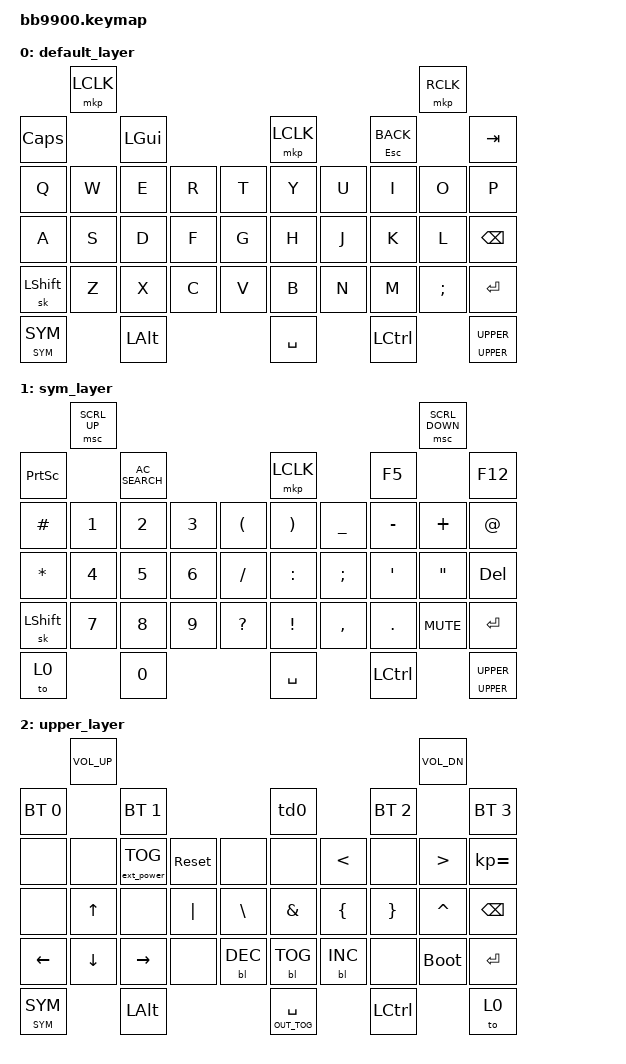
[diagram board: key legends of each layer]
/*
 * Copyright (c) 2023 ZitaoTech
 *
 * SPDX-License-Identifier: MIT
 */
   
#include <behaviors.dtsi>
#include <dt-bindings/zmk/keys.h>
#include <dt-bindings/zmk/bt.h>
#include <dt-bindings/zmk/outputs.h>
#include <dt-bindings/zmk/mouse.h>
#include <dt-bindings/zmk/backlight.h>
#include <dt-bindings/zmk/ext_power.h>


#define SYM 1
#define UPPER 2

/ {
    behaviors {
        td0: tap_dance_0 {
            compatible = "zmk,behavior-tap-dance";
            #binding-cells = <0>;
            tapping-term-ms = <400>;
            bindings = <&mkp LCLK>, <&bt BT_CLR>;
        };
    };
    behaviors {
        hm: homerow_mods {
            compatible = "zmk,behavior-hold-tap";
            #binding-cells = <2>;
            tapping-term-ms = <500>;
            bindings = <&out &kp>;
        };
    };
    behaviors {
      sym_ht: sym_hold_tap {
          compatible = "zmk,behavior-hold-tap";
          #binding-cells = <2>;
          tapping-term-ms = <100>;
          flavor = "hold-preferred";
          bindings = <&mo>, <&to>;
      };
   };
   behaviors {
      upper_ht: upper_hold_tap {
          compatible = "zmk,behavior-hold-tap";
          #binding-cells = <2>;
          tapping-term-ms = <100>;
          flavor = "hold-preferred";
          bindings = <&mo>, <&to>;
      };
   };

    keymap {
        compatible = "zmk,keymap";

        default_layer {

            bindings = <
//         --------------------------------------------------------------------------------------------------------------------------         
//         |    Shoulder Key1    |                                                                             |    Shoulder Key2    |     
// |         Call key      |      Blackberry Key        |    Trackpad    |             Back Key                |             Endcall Key          |
// |     Q      |     W    |     E    |     R    |      T      |       Y        |       U        |        I        |       O      |      P        |     
// |     A      |     S    |     D    |     F    |      G      |       H        |       J        |        K        |       L      |      ←        |  
// |     alt    |     Z    |     X    |     C    |      V      |       B        |       N        |        M        |       $      |    Enter      |   
//        |         aA     |         0           |           SPACE              |         SYM         |        aA          |       
//        -----------------------------------------------------------------------------------------------------------------

                 &mkp LCLK                                                                                          &mkp RCLK
    &kp CLCK                &kp LGUI                            &mkp LCLK                          &mt ESC K_BACK                    &kp TAB
    &kp Q        &kp W      &kp E       &kp R     &kp T         &kp Y             &kp U            &kp I            &kp O            &kp P
    &kp A        &kp S      &kp D       &kp F     &kp G         &kp H             &kp J            &kp K            &kp L            &kp BSPC
    &sk LSHFT    &kp Z      &kp X       &kp C     &kp V         &kp B             &kp N            &kp M            &kp SEMI         &kp ENTER
    &sym_ht SYM SYM         &kp LALT                            &kp SPACE                          &kp LCTRL                         &upper_ht UPPER UPPER             
            >;
        };


        sym_layer {

            bindings = <        
                 &msc SCRL_UP                                                                                       &msc SCRL_DOWN
    &kp PSCRN               &kp C_AC_SEARCH                     &mkp LCLK                          &kp F5                            &kp F12 
    &kp HASH     &kp N1     &kp N2      &kp N3    &kp LPAR      &kp RPAR          &kp UNDER        &kp MINUS        &kp PLUS         &kp AT
    &kp STAR     &kp N4     &kp N5      &kp N6    &kp SLASH     &kp COLON         &kp SEMI         &kp APOS         &kp DQT          &kp DEL
    &sk LSHFT    &kp N7     &kp N8      &kp N9    &kp QMARK     &kp EXCL          &kp COMMA        &kp DOT          &kp C_MUTE       &kp ENTER
    &to 0                   &kp N0                              &kp SPACE                          &kp LCTRL                         &upper_ht UPPER UPPER             
            >;
        };

        upper_layer {

            bindings = <
                 &kp C_VOL_UP                                                                                       &kp C_VOL_DN
    &bt BT_SEL 0            &bt BT_SEL 1                             &td0                           &bt BT_SEL 2                     &bt BT_SEL 3
    &none        &none      &ext_power EP_TOG      &sys_reset  &none &none         &kp LT           &none           &kp GT           &kp KP_EQUAL
    &none        &kp UP     &none       &kp PIPE   &kp BSLH          &kp AMPS      &kp LBRC         &kp RBRC        &kp CARET        &kp BSPC
    &kp LEFT     &kp DOWN   &kp RIGHT   &none      &bl BL_DEC        &bl BL_TOG    &bl BL_INC       &none           &bootloader      &kp ENTER
    &sym_ht SYM SYM         &kp LALT                                 &hm OUT_TOG SPACE              &kp LCTRL                        &to 0                            
            >;
        };
    };
};
